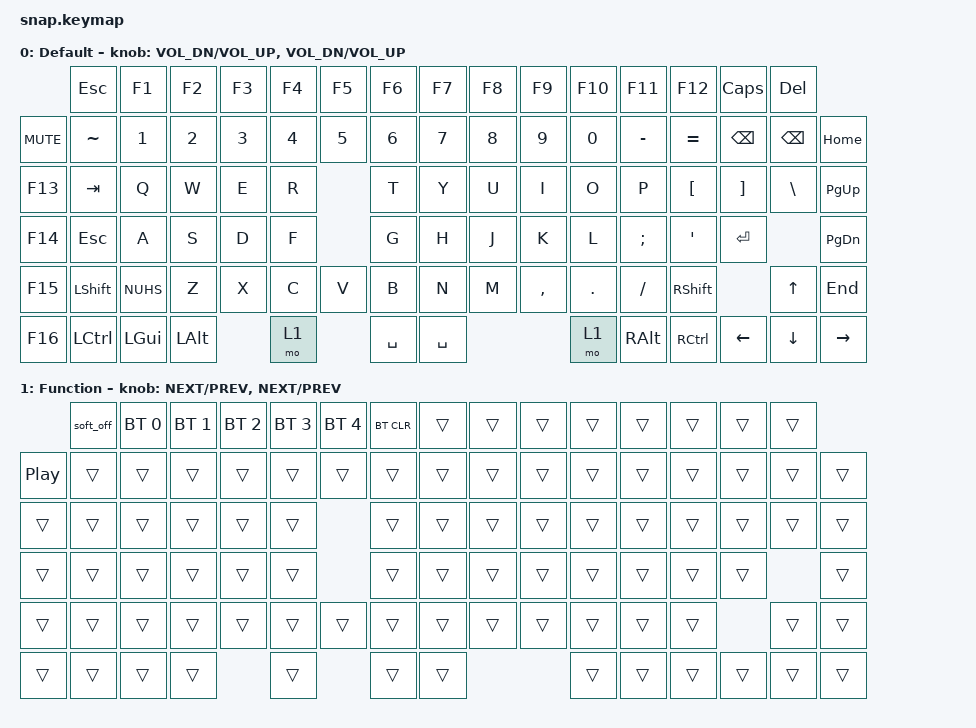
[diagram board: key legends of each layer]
/*
 * Copyright (c) 2022 The ZMK Contributors
 *
 * SPDX-License-Identifier: MIT
 */

#include <behaviors.dtsi>
#include <dt-bindings/zmk/keys.h>
#include <dt-bindings/zmk/rgb.h>
#include <dt-bindings/zmk/rgb.h>
#include <dt-bindings/zmk/bt.h>

&soft_off {
    hold-time-ms = <5000>; // Only turn off it the key is held for 5 seconds or longer.
};

/ {
    sensors: sensors {
        compatible = "zmk,keymap-sensors";
        sensors = <&left_encoder &right_encoder>;
        triggers-per-rotation = <20>;
    };

    keymap {
        compatible = "zmk,keymap";

        default_layer {
            display-name = "Default";
            sensor-bindings = <&inc_dec_kp C_VOL_DN C_VOL_UP &inc_dec_kp C_VOL_DN C_VOL_UP>;
            bindings = <
             &kp ESC     &kp F1   &kp F2   &kp F3   &kp F4   &kp F5   &kp F6     &kp F7   &kp F8   &kp F9    &kp F10  &kp F11     &kp F12     &kp CLCK     &kp DEL
&kp C_MUTE   &kp TILDE   &kp N1   &kp N2   &kp N3   &kp N4   &kp N5   &kp N6     &kp N7   &kp N8   &kp N9    &kp N0   &kp MINUS   &kp EQUAL   &kp BSPC     &kp BSPC   &kp HOME
&kp F13      &kp TAB     &kp Q    &kp W    &kp E    &kp R             &kp T      &kp Y    &kp U    &kp I     &kp O    &kp P       &kp LBKT    &kp RBKT     &kp BSLH   &kp PG_UP
&kp F14      &kp ESC     &kp A    &kp S    &kp D    &kp F             &kp G      &kp H    &kp J    &kp K     &kp L    &kp SEMI    &kp SQT     &kp RET                 &kp PG_DN
&kp F15      &kp LSHFT   &kp NUHS &kp Z    &kp X    &kp C    &kp V    &kp B      &kp N    &kp M    &kp COMMA &kp DOT  &kp FSLH    &kp RSHFT                &kp UP     &kp END
&kp F16      &kp LCTRL   &kp LGUI &kp LALT          &mo 1             &kp SPACE  &kp SPACE                   &mo 1    &kp RALT    &kp RCTRL   &kp LEFT     &kp DOWN   &kp RIGHT
            >;
        };

        function_layer {
            display-name = "Function";
            sensor-bindings = <&inc_dec_kp C_NEXT C_PREV &inc_dec_kp C_NEXT C_PREV>;
            bindings = <
             &soft_off     &bt BT_SEL 0  &bt BT_SEL 1  &bt BT_SEL 2  &bt BT_SEL 3   &bt BT_SEL 4   &bt BT_CLR &trans   &trans   &trans   &trans    &trans      &trans      &trans       &trans
&kp C_PP     &trans        &trans        &trans        &trans        &trans         &trans         &trans     &trans   &trans   &trans   &trans    &trans      &trans      &trans       &trans     &trans
&trans       &trans        &trans        &trans        &trans        &trans                        &trans     &trans   &trans   &trans   &trans    &trans      &trans      &trans       &trans     &trans
&trans       &trans        &trans        &trans        &trans        &trans                        &trans     &trans   &trans   &trans   &trans    &trans      &trans      &trans                  &trans
&trans       &trans        &trans        &trans        &trans        &trans         &trans         &trans     &trans   &trans   &trans   &trans    &trans      &trans                   &trans     &trans
&trans       &trans        &trans        &trans                      &trans                        &trans     &trans                     &trans    &trans      &trans      &trans       &trans     &trans
            >;
        };
    };
};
